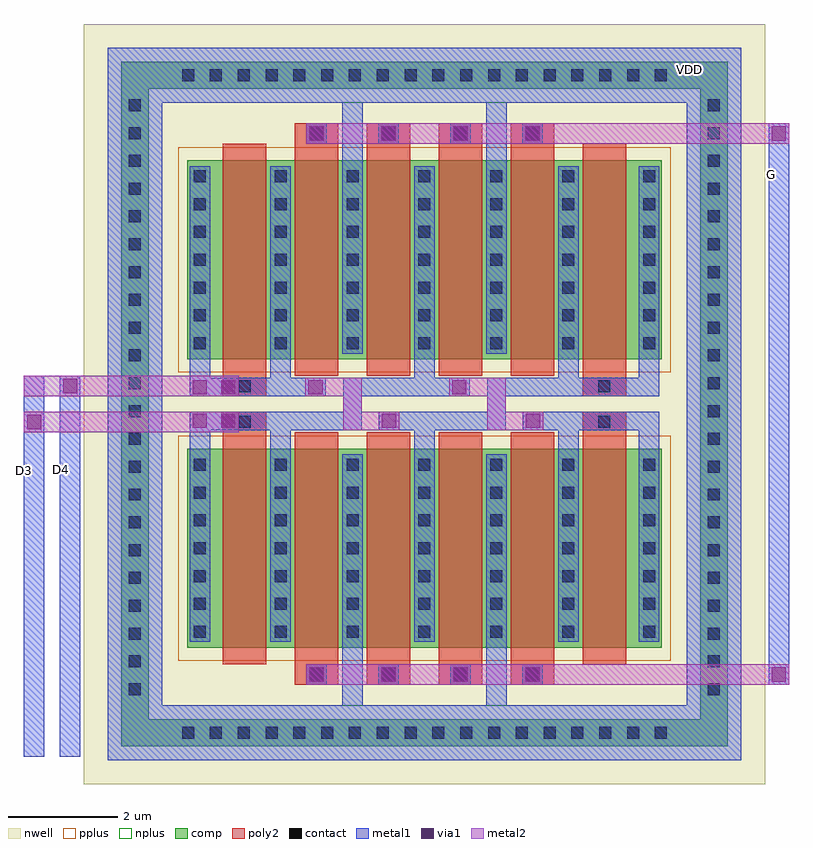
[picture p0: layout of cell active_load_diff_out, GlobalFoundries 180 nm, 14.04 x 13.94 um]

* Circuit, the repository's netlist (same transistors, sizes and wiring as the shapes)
** sch_path: /foss/designs/creactive-chipathon-2025/designs/libs/core_ota/active_load_diff_out/active_load_diff_out.sch
.subckt active_load_diff_out D3 D4 VDD G
*.PININFO VDD:B D3:O D4:O G:I
M3 D3 G VDD VDD pfet_03v3 L=0.8u W=3.65u nf=1 m=4
M4 D4 G VDD VDD pfet_03v3 L=0.8u W=3.65u nf=1 m=4
M1 D3 D3 D3 VDD pfet_03v3 L=0.8u W=3.65u nf=1 m=2
M2 D4 D4 D4 VDD pfet_03v3 L=0.8u W=3.65u nf=1 m=2
.ends

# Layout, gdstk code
from math import pi, radians
import gdstk
lib = gdstk.Library(unit=1e-6, precision=5e-09)
def R(c, l, rs):  # rectangles x0, y0, x1, y1
    for r in rs: c.add(gdstk.rectangle(r[:2], r[2:], *l))
def A(c, l, x, y, w, h, nx, ny, dx, dy):  # array of equal rectangles
    R(c, l, [(x+i*dx, y+j*dy, x+i*dx+w, y+j*dy+h) for i in range(nx) for j in range(ny)])
nwell = (21, 0)
comp = (22, 0)
poly2 = (30, 0)
pplus = (31, 0)
nplus = (32, 0)
contact = (33, 0)
metal1 = (34, 0)
via1 = (35, 0)
metal2 = (36, 0)

pmos_6_1 = lib.new_cell('pmos_6$1')
R(pmos_6_1, comp, [(0.455,0.68,0.915,4.33), (0.915,0.68,8.695,4.33), (8.695,0.68,9.155,4.33)])
A(pmos_6_1, poly2, 1.105, 0.38, 0.8, 4.25, 6, 1, 1.32, 0)
A(pmos_6_1, poly2, 2.425, 4.63, 0.8, 0.38, 4, 1, 1.32, 0)
R(pmos_6_1, poly2, [(1.105,0,1.905,0.38), (7.705,0,8.505,0.38)])
R(pmos_6_1, pplus, [(0.285,0.44,9.325,4.57)])
A(pmos_6_1, contact, 0.575, 0.865, 0.22, 0.22, 1, 7, 0, 0.51)
A(pmos_6_1, contact, 2.055, 0.865, 0.22, 0.22, 5, 7, 1.32, 0.51)
A(pmos_6_1, contact, 8.815, 0.865, 0.22, 0.22, 1, 7, 0, 0.51)
A(pmos_6_1, contact, 2.715, 4.71, 0.22, 0.22, 4, 1, 1.32, 0)
R(pmos_6_1, contact, [(1.395,0.08,1.615,0.3), (7.995,0.08,8.215,0.3)])
A(pmos_6_1, metal1, 1.975, 0.785, 0.38, 3.44, 5, 1, 1.32, 0)
A(pmos_6_1, metal1, 2.635, 4.63, 0.38, 0.38, 4, 1, 1.32, 0)
R(pmos_6_1, metal1, [(1.315,0,1.695,0.34), (7.915,0,8.295,0.34), (0.495,0.785,0.875,4.225), (8.735,0.785,9.115,4.225)])
A(pmos_6_1, via1, 2.695, 4.69, 0.26, 0.26, 4, 1, 1.32, 0)
pmos_6_1.add(gdstk.FlexPath([(7.445,0.785),(7.445,0.34)], 0.38, ends="flush", simple_path=True, layer=34, datatype=0))  # metal1
pmos_6_1.add(gdstk.FlexPath([(8.925,0.785),(8.925,0.34)], 0.38, ends="flush", simple_path=True, layer=34, datatype=0))  # metal1
pmos_6_1.add(gdstk.FlexPath([(4.805,0.785),(4.805,0.34)], 0.38, ends="flush", simple_path=True, layer=34, datatype=0))  # metal1
pmos_6_1.add(gdstk.FlexPath([(2.165,0.785),(2.165,0.34)], 0.38, ends="flush", simple_path=True, layer=34, datatype=0))  # metal1
pmos_6_1.add(gdstk.FlexPath([(0.685,0.785),(0.685,0.34)], 0.38, ends="flush", simple_path=True, layer=34, datatype=0))  # metal1
pmos_6_1.add(gdstk.FlexPath([(6.975,4.82),(0,4.82)], 0.38, ends="flush", simple_path=True, layer=36, datatype=0))  # metal2

active_load_diff_out = lib.new_cell('active_load_diff_out')
R(active_load_diff_out, nwell, [(1.1,0,13.6,13.94)])
A(active_load_diff_out, contact, 2.905, 0.83, 0.22, 0.22, 18, 2, 0.51, 12.06)
A(active_load_diff_out, contact, 1.93, 1.63, 0.22, 0.22, 1, 22, 0, 0.51)
A(active_load_diff_out, contact, 12.55, 1.63, 0.22, 0.22, 1, 22, 0, 0.51)
R(active_load_diff_out, via1, [(13.72,1.88,13.98,2.14), (0.06,6.51,0.32,6.77), (3.1,6.53,3.36,6.79), (3.62,6.53,3.88,6.79), (6.57,6.53,6.83,6.79), (9.21,6.53,9.47,6.79), (3.1,7.15,3.36,7.41), (3.62,7.15,3.88,7.41), (5.22,7.15,5.48,7.41), (7.86,7.15,8.12,7.41), (0.72,7.17,0.98,7.43), (13.72,11.8,13.98,12.06)])
active_load_diff_out.add(gdstk.FlexPath([(6.51,6.66),(8.67,6.66),(8.67,7.28),(11.66,7.28)], 0.34, ends="flush", simple_path=True, layer=34, datatype=0))  # metal1
active_load_diff_out.add(gdstk.FlexPath([(12.16,13),(2.04,13),(2.04,0.94),(12.66,0.94),(12.66,13.5)], 1, ends="flush", simple_path=True, layer=34, datatype=0))  # metal1
active_load_diff_out.add(gdstk.FlexPath([(13.85,12.12),(13.85,1.82)], 0.38, ends="flush", simple_path=True, layer=34, datatype=0))  # metal1
active_load_diff_out.add(gdstk.FlexPath([(5.54,7.28),(3.04,7.28)], 0.34, ends="flush", simple_path=True, layer=34, datatype=0))  # metal1
active_load_diff_out.add(gdstk.FlexPath([(11.66,6.66),(9.15,6.66)], 0.34, ends="flush", simple_path=True, layer=34, datatype=0))  # metal1
active_load_diff_out.add(gdstk.FlexPath([(0.19,7.49),(0.19,0.5)], 0.38, ends="flush", simple_path=True, layer=34, datatype=0))  # metal1
active_load_diff_out.add(gdstk.FlexPath([(0.85,7.49),(0.85,0.5)], 0.38, ends="flush", simple_path=True, layer=34, datatype=0))  # metal1
active_load_diff_out.add(gdstk.FlexPath([(8.67,2.605),(8.67,1.44)], 0.38, ends="flush", simple_path=True, layer=34, datatype=0))  # metal1
active_load_diff_out.add(gdstk.FlexPath([(6.03,2.605),(6.03,1.44)], 0.38, ends="flush", simple_path=True, layer=34, datatype=0))  # metal1
active_load_diff_out.add(gdstk.FlexPath([(8.67,12.5),(8.67,11.335)], 0.38, ends="flush", simple_path=True, layer=34, datatype=0))  # metal1
active_load_diff_out.add(gdstk.FlexPath([(6.03,12.5),(6.03,11.335)], 0.38, ends="flush", simple_path=True, layer=34, datatype=0))  # metal1
active_load_diff_out.add(gdstk.FlexPath([(3.04,6.66),(6.03,6.66),(6.03,7.28),(8.18,7.28)], 0.34, ends="flush", simple_path=True, layer=34, datatype=0))  # metal1
active_load_diff_out.add(gdstk.FlexPath([(12.41,13),(2.04,13),(2.04,0.94),(12.66,0.94),(12.66,13.25)], 0.5, ends="flush", simple_path=True, layer=22, datatype=0))  # comp
active_load_diff_out.add(gdstk.FlexPath([(0,6.64),(3.94,6.64)], 0.38, ends="flush", simple_path=True, layer=36, datatype=0))  # metal2
active_load_diff_out.add(gdstk.FlexPath([(0,7.3),(3.94,7.3)], 0.38, ends="flush", simple_path=True, layer=36, datatype=0))  # metal2
active_load_diff_out.add(gdstk.FlexPath([(9.53,6.66),(8.67,6.66),(8.67,7.28),(7.8,7.28)], 0.34, ends="flush", simple_path=True, layer=36, datatype=0))  # metal2
active_load_diff_out.add(gdstk.FlexPath([(12.155,11.93),(14.04,11.93)], 0.38, ends="flush", simple_path=True, layer=36, datatype=0))  # metal2
active_load_diff_out.add(gdstk.FlexPath([(12.155,2.01),(14.04,2.01)], 0.38, ends="flush", simple_path=True, layer=36, datatype=0))  # metal2
active_load_diff_out.add(gdstk.FlexPath([(6.89,6.66),(6.03,6.66),(6.03,7.28),(5.16,7.28)], 0.34, ends="flush", simple_path=True, layer=36, datatype=0))  # metal2
active_load_diff_out.add(gdstk.FlexPath([(12.16,13),(2.04,13),(2.04,0.94),(12.66,0.94),(12.66,13.5)], 1, ends="flush", simple_path=True, layer=32, datatype=0))  # nplus
active_load_diff_out.add(gdstk.Reference(pmos_6_1, (12.155,7.11), rotation=pi, x_reflection=True))
active_load_diff_out.add(gdstk.Reference(pmos_6_1, (12.155,6.83), rotation=pi))
active_load_diff_out.add(gdstk.Label('G', (13.71,11.18), layer=34, texttype=10))
active_load_diff_out.add(gdstk.Label('D3', (0.02,5.745), layer=34, texttype=10))
active_load_diff_out.add(gdstk.Label('D4', (0.69,5.76), layer=34, texttype=10))
active_load_diff_out.add(gdstk.Label('VDD', (12.21,13.1), layer=34, texttype=10))

lib.write_gds('active_load_diff_out.gds')
